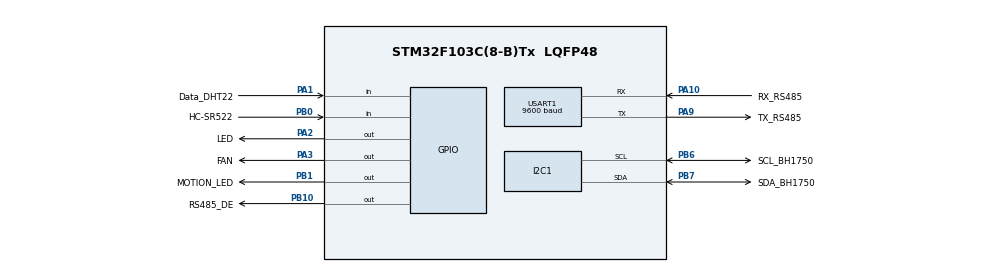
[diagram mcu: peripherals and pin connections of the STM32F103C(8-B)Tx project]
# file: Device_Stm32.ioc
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Dma.I2C1_RX.0.Direction=DMA_PERIPH_TO_MEMORY
Dma.I2C1_RX.0.Instance=DMA1_Channel7
Dma.I2C1_RX.0.MemDataAlignment=DMA_MDATAALIGN_BYTE
Dma.I2C1_RX.0.MemInc=DMA_MINC_ENABLE
Dma.I2C1_RX.0.Mode=DMA_NORMAL
Dma.I2C1_RX.0.PeriphDataAlignment=DMA_PDATAALIGN_BYTE
Dma.I2C1_RX.0.PeriphInc=DMA_PINC_DISABLE
Dma.I2C1_RX.0.Priority=DMA_PRIORITY_MEDIUM
Dma.I2C1_TX.1.Direction=DMA_MEMORY_TO_PERIPH
Dma.I2C1_TX.1.Instance=DMA1_Channel6
Dma.I2C1_TX.1.MemDataAlignment=DMA_MDATAALIGN_BYTE
Dma.I2C1_TX.1.MemInc=DMA_MINC_ENABLE
Dma.I2C1_TX.1.Mode=DMA_NORMAL
Dma.I2C1_TX.1.PeriphDataAlignment=DMA_PDATAALIGN_BYTE
Dma.I2C1_TX.1.PeriphInc=DMA_PINC_DISABLE
Dma.I2C1_TX.1.Priority=DMA_PRIORITY_MEDIUM
Dma.Request0=I2C1_RX
Dma.Request1=I2C1_TX
Dma.Request2=USART1_TX
Dma.Request3=USART1_RX
Dma.USART1_RX.3.Direction=DMA_PERIPH_TO_MEMORY
Dma.USART1_RX.3.Instance=DMA1_Channel5
Dma.USART1_RX.3.MemDataAlignment=DMA_MDATAALIGN_BYTE
Dma.USART1_RX.3.MemInc=DMA_MINC_ENABLE
Dma.USART1_RX.3.Mode=DMA_NORMAL
Dma.USART1_RX.3.PeriphDataAlignment=DMA_PDATAALIGN_BYTE
Dma.USART1_RX.3.PeriphInc=DMA_PINC_DISABLE
Dma.USART1_RX.3.Priority=DMA_PRIORITY_MEDIUM
Dma.USART1_TX.2.Direction=DMA_MEMORY_TO_PERIPH
Dma.USART1_TX.2.Instance=DMA1_Channel4
Dma.USART1_TX.2.MemDataAlignment=DMA_MDATAALIGN_BYTE
Dma.USART1_TX.2.MemInc=DMA_MINC_ENABLE
Dma.USART1_TX.2.Mode=DMA_NORMAL
Dma.USART1_TX.2.PeriphDataAlignment=DMA_PDATAALIGN_BYTE
Dma.USART1_TX.2.PeriphInc=DMA_PINC_DISABLE
Dma.USART1_TX.2.Priority=DMA_PRIORITY_MEDIUM
Mcu.Family=STM32F1
Mcu.Name=STM32F103C(8-B)Tx
Mcu.Package=LQFP48
NVIC.DMA1_Channel4_IRQn=true\:0\:0\:false\:false\:true\:false\:true\:true
NVIC.DMA1_Channel5_IRQn=true\:0\:0\:false\:false\:true\:false\:true\:true
NVIC.DMA1_Channel6_IRQn=true\:0\:0\:false\:false\:true\:false\:true\:true
NVIC.DMA1_Channel7_IRQn=true\:0\:0\:false\:false\:true\:false\:true\:true
NVIC.PriorityGroup=NVIC_PRIORITYGROUP_4
NVIC.USART1_IRQn=true\:0\:0\:false\:false\:true\:false\:true\:true
PA1.GPIO_Label=Data_DHT22
PA1.Signal=GPIO_Input
PA10.GPIO_Label=RX_RS485
PA10.Mode=Asynchronous
PA10.Signal=USART1_RX
PA13.Mode=Serial_Wire
PA13.Signal=SYS_JTMS-SWDIO
PA14.Mode=Serial_Wire
PA14.Signal=SYS_JTCK-SWCLK
PA2.GPIO_Label=LED
PA2.Signal=GPIO_Output
PA3.GPIO_Label=FAN
PA3.Signal=GPIO_Output
PA9.GPIO_Label=TX_RS485
PA9.Mode=Asynchronous
PA9.Signal=USART1_TX
PB0.GPIO_Label=HC-SR522
PB0.GPIO_PuPd=GPIO_PULLDOWN
PB0.Signal=GPIO_Input
PB1.GPIO_Label=MOTION_LED
PB1.Signal=GPIO_Output
PB10.GPIO_Label=RS485_DE
PB10.Signal=GPIO_Output
PB6.GPIO_Label=SCL_BH1750
PB6.Mode=I2C
PB6.Signal=I2C1_SCL
PB7.GPIO_Label=SDA_BH1750
PB7.Mode=I2C
PB7.Signal=I2C1_SDA
ProjectManager.HeapSize=0x200
ProjectManager.StackSize=0x400
ProjectManager.TargetToolchain=MDK-ARM V5.32
RCC.APB1Freq_Value=8000000
RCC.APB2Freq_Value=8000000
USART1.BaudRate=9600
USART1.Parity=PARITY_EVEN
USART1.StopBits=STOPBITS_1
USART1.VirtualMode=VM_ASYNC
USART1.WordLength=WORDLENGTH_9B
board=custom

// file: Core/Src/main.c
/* USER CODE BEGIN Header */
/**
  ******************************************************************************
  * @file           : main.c
  * @brief          : Main program body
  ******************************************************************************
  * @attention
  *
  * Copyright (c) 2026 STMicroelectronics.
  * All rights reserved.
  *
  * This software is licensed under terms that can be found in the LICENSE file
  * in the root directory of this software component.
  * If no LICENSE file comes with this software, it is provided AS-IS.
  *
  ******************************************************************************
  */
/* USER CODE END Header */
#include "main.h"

/* USER CODE BEGIN Includes */
#include "bh1750.h"
#include "DHT22.h"
#include <stdint.h>

/* USER CODE END Includes */

/* USER CODE BEGIN PD */
#define MODBUS_SLAVE_ID             1U
#define MODBUS_MAX_FRAME_SIZE       256U
#define MODBUS_FRAME_GAP_MS         5U
#define MODBUS_REGISTER_COUNT       7U
#define SENSOR_INTERVAL_MS          3000U
#define MOTION_POLL_INTERVAL_MS     100U
#define MOTION_STARTUP_DELAY_MS     3000U
#define MOTION_DEBOUNCE_MS          300U
#define MOTION_SENSOR_HOLD_MS       5000U
#define MOTION_OFF_DELAY_MS         39000U

/* USER CODE END PD */

I2C_HandleTypeDef hi2c1;
DMA_HandleTypeDef hdma_i2c1_rx;
DMA_HandleTypeDef hdma_i2c1_tx;

UART_HandleTypeDef huart1;
DMA_HandleTypeDef hdma_usart1_tx;
DMA_HandleTypeDef hdma_usart1_rx;

/* USER CODE BEGIN PV */
typedef struct
{
  int16_t temperature_tenths;
  uint16_t humidity_tenths;
  float lux;
  uint8_t motion_detected;
  uint8_t led_on;
  uint8_t fan_on;
  uint8_t sensor_status;
} DeviceState_t;

static BH1750_HandleTypeDef bh1750;
static DeviceState_t device_state;
static uint8_t bh1750_initialized;
static uint8_t modbus_tx_error;
static uint8_t uart_rx_error;
static uint8_t uart_rx_restart_required;
static uint8_t uart_rx_dma_buffer[MODBUS_MAX_FRAME_SIZE];
static uint8_t modbus_request_buffer[MODBUS_MAX_FRAME_SIZE];
static volatile uint16_t modbus_request_length;
static volatile uint8_t modbus_request_pending;
static volatile uint32_t modbus_last_rx_tick;
static uint32_t last_sensor_read_tick;
static uint32_t last_motion_poll_tick;
static uint32_t motion_startup_tick;
static uint32_t motion_last_active_tick;
static uint32_t motion_raw_start_tick;
static uint8_t motion_raw_tracking;

/* USER CODE END PV */

void SystemClock_Config(void);
static void MX_GPIO_Init(void);
static void MX_DMA_Init(void);
static void MX_I2C1_Init(void);
static void MX_USART1_UART_Init(void);
/* USER CODE BEGIN PFP */
static HAL_StatusTypeDef Modbus_StartReceive(void);
static void Modbus_ProcessFrame(const uint8_t *frame, uint16_t length);
static void Modbus_SendResponse(uint8_t *response, uint16_t length);
static uint16_t Modbus_CalculateCrc(const uint8_t *data, uint16_t length);
static uint16_t Modbus_GetHoldingRegister(uint16_t address);
static void Device_ReadSensors(void);
static void Device_UpdateMotion(uint32_t now);
static void Device_SetLed(uint8_t on);
static void Device_SetFan(uint8_t on);

/* USER CODE END PFP */

int main(void)
{

  /* MCU Configuration--------------------------------------------------------*/

  /* Reset of all peripherals, Initializes the Flash interface and the Systick. */
  HAL_Init();

  /* Configure the system clock */
  SystemClock_Config();

  /* Initialize all configured peripherals */
  MX_GPIO_Init();
  MX_DMA_Init();
  MX_I2C1_Init();
  MX_USART1_UART_Init();
  /* USER CODE BEGIN 2 */
  DHT22_Init(Data_DHT22_GPIO_Port, Data_DHT22_Pin);
  bh1750_initialized = (BH1750_Init(&bh1750,
                                   &hi2c1,
                                   BH1750_DEFAULT_ADDR,
                                   BH1750_MODE_CONT_HIGH_RES) == HAL_OK);

  HAL_GPIO_WritePin(RS485_DE_GPIO_Port, RS485_DE_Pin, GPIO_PIN_RESET);
  HAL_GPIO_WritePin(MOTION_LED_GPIO_Port, MOTION_LED_Pin, GPIO_PIN_RESET);
  Device_SetLed(0U);
  Device_SetFan(0U);

  if (Modbus_StartReceive() != HAL_OK)
  {
    Error_Handler();
  }

  last_sensor_read_tick = HAL_GetTick();
  motion_startup_tick = HAL_GetTick();

  /* USER CODE END 2 */

  /* Infinite loop */
  while (1)
  {

    /* USER CODE BEGIN 3 */
    uint32_t now = HAL_GetTick();

    if ((modbus_request_pending == 0U) && (modbus_request_length > 0U))
    {
      uint32_t primask = __get_PRIMASK();
      __disable_irq();
      now = HAL_GetTick();
      if ((modbus_request_pending == 0U) &&
          (modbus_request_length > 0U) &&
          ((uint32_t)(now - modbus_last_rx_tick) >= MODBUS_FRAME_GAP_MS))
      {
        __DMB();
        modbus_request_pending = 1U;
      }
      if (primask == 0U)
      {
        __enable_irq();
      }
    }

    if (modbus_request_pending != 0U)
    {
      __DMB();
      uint16_t request_length = modbus_request_length;
      Modbus_ProcessFrame((const uint8_t *)modbus_request_buffer, request_length);
      modbus_request_length = 0U;
      __DMB();
      modbus_request_pending = 0U;
    }

    if (uart_rx_restart_required != 0U)
    {
      uart_rx_restart_required = 0U;
      (void)HAL_UART_AbortReceive(&huart1);
      if (Modbus_StartReceive() != HAL_OK)
      {
        uart_rx_restart_required = 1U;
      }
    }

    if ((uint32_t)(now - last_sensor_read_tick) >= SENSOR_INTERVAL_MS)
    {
      last_sensor_read_tick = now;
      Device_ReadSensors();
    }

    if ((uint32_t)(now - last_motion_poll_tick) >= MOTION_POLL_INTERVAL_MS)
    {
      last_motion_poll_tick = now;
      Device_UpdateMotion(now);
    }

    HAL_Delay(1U);
  }
  /* USER CODE END 3 */
}

void SystemClock_Config(void)
{
  RCC_OscInitTypeDef RCC_OscInitStruct = {0};
  RCC_ClkInitTypeDef RCC_ClkInitStruct = {0};

  /** Initializes the RCC Oscillators according to the specified parameters
  * in the RCC_OscInitTypeDef structure.
  */
  RCC_OscInitStruct.OscillatorType = RCC_OSCILLATORTYPE_HSI;
  RCC_OscInitStruct.HSIState = RCC_HSI_ON;
  RCC_OscInitStruct.HSICalibrationValue = RCC_HSICALIBRATION_DEFAULT;
  RCC_OscInitStruct.PLL.PLLState = RCC_PLL_NONE;
  if (HAL_RCC_OscConfig(&RCC_OscInitStruct) != HAL_OK)
  {
    Error_Handler();
  }

  /** Initializes the CPU, AHB and APB buses clocks
  */
  RCC_ClkInitStruct.ClockType = RCC_CLOCKTYPE_HCLK|RCC_CLOCKTYPE_SYSCLK
                              |RCC_CLOCKTYPE_PCLK1|RCC_CLOCKTYPE_PCLK2;
  RCC_ClkInitStruct.SYSCLKSource = RCC_SYSCLKSOURCE_HSI;
  RCC_ClkInitStruct.AHBCLKDivider = RCC_SYSCLK_DIV1;
  RCC_ClkInitStruct.APB1CLKDivider = RCC_HCLK_DIV1;
  RCC_ClkInitStruct.APB2CLKDivider = RCC_HCLK_DIV1;

  if (HAL_RCC_ClockConfig(&RCC_ClkInitStruct, FLASH_LATENCY_0) != HAL_OK)
  {
    Error_Handler();
  }
}

static void MX_I2C1_Init(void)
{

  hi2c1.Instance = I2C1;
  hi2c1.Init.ClockSpeed = 100000;
  hi2c1.Init.DutyCycle = I2C_DUTYCYCLE_2;
  hi2c1.Init.OwnAddress1 = 0;
  hi2c1.Init.AddressingMode = I2C_ADDRESSINGMODE_7BIT;
  hi2c1.Init.DualAddressMode = I2C_DUALADDRESS_DISABLE;
  hi2c1.Init.OwnAddress2 = 0;
  hi2c1.Init.GeneralCallMode = I2C_GENERALCALL_DISABLE;
  hi2c1.Init.NoStretchMode = I2C_NOSTRETCH_DISABLE;
  if (HAL_I2C_Init(&hi2c1) != HAL_OK)
  {
    Error_Handler();
  }

}

static void MX_USART1_UART_Init(void)
{

  huart1.Instance = USART1;
  huart1.Init.BaudRate = 9600;
  huart1.Init.WordLength = UART_WORDLENGTH_9B;
  huart1.Init.StopBits = UART_STOPBITS_1;
  huart1.Init.Parity = UART_PARITY_EVEN;
  huart1.Init.Mode = UART_MODE_TX_RX;
  huart1.Init.HwFlowCtl = UART_HWCONTROL_NONE;
  huart1.Init.OverSampling = UART_OVERSAMPLING_16;
  if (HAL_UART_Init(&huart1) != HAL_OK)
  {
    Error_Handler();
  }

}

static void MX_DMA_Init(void)
{

  /* DMA controller clock enable */
  __HAL_RCC_DMA1_CLK_ENABLE();

  /* DMA interrupt init */
  /* DMA1_Channel4_IRQn interrupt configuration */
  HAL_NVIC_SetPriority(DMA1_Channel4_IRQn, 0, 0);
  HAL_NVIC_EnableIRQ(DMA1_Channel4_IRQn);
  /* DMA1_Channel5_IRQn interrupt configuration */
  HAL_NVIC_SetPriority(DMA1_Channel5_IRQn, 0, 0);
  HAL_NVIC_EnableIRQ(DMA1_Channel5_IRQn);
  /* DMA1_Channel6_IRQn interrupt configuration */
  HAL_NVIC_SetPriority(DMA1_Channel6_IRQn, 0, 0);
  HAL_NVIC_EnableIRQ(DMA1_Channel6_IRQn);
  /* DMA1_Channel7_IRQn interrupt configuration */
  HAL_NVIC_SetPriority(DMA1_Channel7_IRQn, 0, 0);
  HAL_NVIC_EnableIRQ(DMA1_Channel7_IRQn);

}

static void MX_GPIO_Init(void)
{
  GPIO_InitTypeDef GPIO_InitStruct = {0};

  /* GPIO Ports Clock Enable */
  __HAL_RCC_GPIOA_CLK_ENABLE();
  __HAL_RCC_GPIOB_CLK_ENABLE();

  /*Configure GPIO pin Output Level */
  HAL_GPIO_WritePin(GPIOA, LED_Pin|FAN_Pin, GPIO_PIN_RESET);

  /*Configure GPIO pin Output Level */
  HAL_GPIO_WritePin(GPIOB, MOTION_LED_Pin|RS485_DE_Pin, GPIO_PIN_RESET);

  /*Configure GPIO pin : Data_DHT22_Pin */
  GPIO_InitStruct.Pin = Data_DHT22_Pin;
  GPIO_InitStruct.Mode = GPIO_MODE_INPUT;
  GPIO_InitStruct.Pull = GPIO_NOPULL;
  HAL_GPIO_Init(Data_DHT22_GPIO_Port, &GPIO_InitStruct);

  /*Configure GPIO pins : LED_Pin FAN_Pin */
  GPIO_InitStruct.Pin = LED_Pin|FAN_Pin;
  GPIO_InitStruct.Mode = GPIO_MODE_OUTPUT_PP;
  GPIO_InitStruct.Pull = GPIO_NOPULL;
  GPIO_InitStruct.Speed = GPIO_SPEED_FREQ_LOW;
  HAL_GPIO_Init(GPIOA, &GPIO_InitStruct);

  /*Configure GPIO pin : HC_SR522_Pin */
  GPIO_InitStruct.Pin = HC_SR522_Pin;
  GPIO_InitStruct.Mode = GPIO_MODE_INPUT;
  GPIO_InitStruct.Pull = GPIO_PULLDOWN;
  HAL_GPIO_Init(HC_SR522_GPIO_Port, &GPIO_InitStruct);

  /*Configure GPIO pins : MOTION_LED_Pin RS485_DE_Pin */
  GPIO_InitStruct.Pin = MOTION_LED_Pin|RS485_DE_Pin;
  GPIO_InitStruct.Mode = GPIO_MODE_OUTPUT_PP;
  GPIO_InitStruct.Pull = GPIO_NOPULL;
  GPIO_InitStruct.Speed = GPIO_SPEED_FREQ_LOW;
  HAL_GPIO_Init(GPIOB, &GPIO_InitStruct);

}

/* USER CODE BEGIN 4 */
static HAL_StatusTypeDef Modbus_StartReceive(void)
{
  HAL_StatusTypeDef status =
      HAL_UARTEx_ReceiveToIdle_DMA(&huart1, uart_rx_dma_buffer, sizeof(uart_rx_dma_buffer));
  if (status == HAL_OK)
  {
    __HAL_DMA_DISABLE_IT(huart1.hdmarx, DMA_IT_HT);
  }
  else
  {
    uart_rx_error = 1U;
  }
  return status;
}

static uint16_t Modbus_CalculateCrc(const uint8_t *data, uint16_t length)
{
  uint16_t crc = 0xFFFFU;
  uint16_t i;
  uint8_t bit;

  for (i = 0U; i < length; i++)
  {
    crc ^= data[i];
    for (bit = 0U; bit < 8U; bit++)
    {
      crc = (crc & 1U) != 0U ? (uint16_t)((crc >> 1U) ^ 0xA001U)
                             : (uint16_t)(crc >> 1U);
    }
  }
  return crc;
}

static uint16_t Modbus_GetHoldingRegister(uint16_t address)
{
  switch (address)
  {
    case 0U:
      return (uint16_t)device_state.temperature_tenths;
    case 1U:
      return device_state.humidity_tenths;
    case 2U:
      if (device_state.lux >= 65535.0f)
      {
        return 65535U;
      }
      return device_state.lux > 0.0f ? (uint16_t)(device_state.lux + 0.5f) : 0U;
    case 3U:
      return device_state.motion_detected != 0U ? 1U : 0U;
    case 4U:
      return device_state.led_on != 0U ? 1U : 0U;
    case 5U:
      return device_state.fan_on != 0U ? 1U : 0U;
    case 6U:
      return (uint16_t)(device_state.sensor_status |
                        (modbus_tx_error << 2U) |
                        (uart_rx_error << 3U));
    default:
      return 0U;
  }
}

static void Device_SetLed(uint8_t on)
{
  device_state.led_on = on != 0U ? 1U : 0U;
  HAL_GPIO_WritePin(LED_GPIO_Port, LED_Pin,
                    device_state.led_on != 0U ? GPIO_PIN_SET : GPIO_PIN_RESET);
}

static void Device_SetFan(uint8_t on)
{
  device_state.fan_on = on != 0U ? 1U : 0U;
  HAL_GPIO_WritePin(FAN_GPIO_Port, FAN_Pin,
                    device_state.fan_on != 0U ? GPIO_PIN_SET : GPIO_PIN_RESET);
}

static void Device_ReadSensors(void)
{
  uint8_t status = 0U;
  uint16_t temperature_raw = 0U;
  uint16_t humidity_raw = 0U;

  if (DHT22_Get_Data(&temperature_raw, &humidity_raw) == DHT22_STATUS_OK)
  {
    int16_t temperature = (int16_t)(temperature_raw & 0x7FFFU);
    if ((temperature_raw & 0x8000U) != 0U)
    {
      temperature = (int16_t)-temperature;
    }
    device_state.temperature_tenths = temperature;
    device_state.humidity_tenths = humidity_raw;
    status |= 0x0001U;
  }

  if (bh1750_initialized == 0U)
  {
    bh1750_initialized = (BH1750_Init(&bh1750,
                                     &hi2c1,
                                     BH1750_DEFAULT_ADDR,
                                     BH1750_MODE_CONT_HIGH_RES) == HAL_OK);
  }

  if ((bh1750_initialized != 0U) &&
      (BH1750_IsMeasurementReady(&bh1750) != 0U))
  {
    uint8_t data[2];
    if (HAL_I2C_Master_Receive(&hi2c1,
                               BH1750_DEFAULT_ADDR,
                               data,
                               sizeof(data),
                               BH1750_I2C_TIMEOUT_MS) == HAL_OK)
    {
      uint16_t raw_lux = (uint16_t)(((uint16_t)data[0] << 8U) | data[1]);
      device_state.lux = (float)raw_lux / BH1750_CONV_FACTOR;
      status |= 0x0002U;
    }
  }

  device_state.sensor_status = status;
}

static void Device_UpdateMotion(uint32_t now)
{
  if ((uint32_t)(now - motion_startup_tick) < MOTION_STARTUP_DELAY_MS)
  {
    return;
  }

  if (HAL_GPIO_ReadPin(HC_SR522_GPIO_Port, HC_SR522_Pin) == GPIO_PIN_SET)
  {
    if (motion_raw_tracking == 0U)
    {
      motion_raw_tracking = 1U;
      motion_raw_start_tick = now;
    }
    motion_last_active_tick = now;
    if ((uint32_t)(now - motion_raw_start_tick) >= MOTION_DEBOUNCE_MS)
    {
      device_state.motion_detected = 1U;
    }
  }
  else
  {
    motion_raw_tracking = 0U;
    if ((device_state.motion_detected != 0U) &&
        ((uint32_t)(now - motion_last_active_tick) >=
         (MOTION_SENSOR_HOLD_MS + MOTION_OFF_DELAY_MS)))
    {
      device_state.motion_detected = 0U;
    }
  }

  HAL_GPIO_WritePin(MOTION_LED_GPIO_Port, MOTION_LED_Pin,
                    device_state.motion_detected != 0U ? GPIO_PIN_SET : GPIO_PIN_RESET);
}

static void Modbus_SendResponse(uint8_t *response, uint16_t length)
{
  uint16_t crc = Modbus_CalculateCrc(response, length);
  response[length++] = (uint8_t)(crc & 0x00FFU);
  response[length++] = (uint8_t)(crc >> 8U);

  HAL_GPIO_WritePin(RS485_DE_GPIO_Port, RS485_DE_Pin, GPIO_PIN_SET);
  if (HAL_UART_Transmit(&huart1, response, length, 100U) != HAL_OK)
  {
    modbus_tx_error = 1U;
  }
  HAL_GPIO_WritePin(RS485_DE_GPIO_Port, RS485_DE_Pin, GPIO_PIN_RESET);
}

static void Modbus_ProcessFrame(const uint8_t *frame, uint16_t length)
{
  uint8_t response[MODBUS_MAX_FRAME_SIZE];
  uint16_t crc;
  uint8_t function;
  uint16_t response_length = 0U;

  if ((length < 4U) || (length > MODBUS_MAX_FRAME_SIZE))
  {
    return;
  }

  crc = (uint16_t)frame[length - 2U] |
        (uint16_t)((uint16_t)frame[length - 1U] << 8U);
  if (Modbus_CalculateCrc(frame, (uint16_t)(length - 2U)) != crc)
  {
    return;
  }
  if (frame[0] != MODBUS_SLAVE_ID)
  {
    return;
  }

  function = frame[1];
  response[0] = MODBUS_SLAVE_ID;
  response[1] = function;

  if (function == 0x03U)
  {
    uint16_t start;
    uint16_t count;
    uint16_t i;

    if (length != 8U)
    {
      response[1] = (uint8_t)(function | 0x80U);
      response[2] = 0x03U;
      response_length = 3U;
    }
    else
    {
      start = (uint16_t)(((uint16_t)frame[2] << 8U) | frame[3]);
      count = (uint16_t)(((uint16_t)frame[4] << 8U) | frame[5]);
      if ((count == 0U) || (count > 125U))
      {
        response[1] = (uint8_t)(function | 0x80U);
        response[2] = 0x03U;
        response_length = 3U;
      }
      else if ((start >= MODBUS_REGISTER_COUNT) ||
               (count > (MODBUS_REGISTER_COUNT - start)))
      {
        response[1] = (uint8_t)(function | 0x80U);
        response[2] = 0x02U;
        response_length = 3U;
      }
      else
      {
        response[2] = (uint8_t)(count * 2U);
        for (i = 0U; i < count; i++)
        {
          uint16_t value = Modbus_GetHoldingRegister((uint16_t)(start + i));
          response[3U + (i * 2U)] = (uint8_t)(value >> 8U);
          response[4U + (i * 2U)] = (uint8_t)(value & 0x00FFU);
        }
        response_length = (uint16_t)(3U + (count * 2U));
      }
    }
  }
  else if (function == 0x06U)
  {
    uint16_t address;
    uint16_t value;

    if (length != 8U)
    {
      response[1] = (uint8_t)(function | 0x80U);
      response[2] = 0x03U;
      response_length = 3U;
    }
    else
    {
      address = (uint16_t)(((uint16_t)frame[2] << 8U) | frame[3]);
      value = (uint16_t)(((uint16_t)frame[4] << 8U) | frame[5]);
      if ((address != 4U) && (address != 5U))
      {
        response[1] = (uint8_t)(function | 0x80U);
        response[2] = 0x02U;
        response_length = 3U;
      }
      else if (value > 1U)
      {
        response[1] = (uint8_t)(function | 0x80U);
        response[2] = 0x03U;
        response_length = 3U;
      }
      else
      {
        if (address == 4U)
        {
          Device_SetLed((uint8_t)value);
        }
        else
        {
          Device_SetFan((uint8_t)value);
        }
        for (response_length = 0U; response_length < 6U; response_length++)
        {
          response[response_length] = frame[response_length];
        }
      }
    }
  }
  else
  {
    response[1] = (uint8_t)(function | 0x80U);
    response[2] = 0x01U;
    response_length = 3U;
  }

  if (response_length != 0U)
  {
    Modbus_SendResponse(response, response_length);
  }
}

void HAL_UARTEx_RxEventCallback(UART_HandleTypeDef *huart, uint16_t size)
{
  uint16_t i;

  if (huart->Instance != USART1)
  {
    return;
  }

  if ((size > 0U) && (modbus_request_pending == 0U) &&
      (size <= (MODBUS_MAX_FRAME_SIZE - modbus_request_length)))
  {
    for (i = 0U; i < size; i++)
    {
      modbus_request_buffer[modbus_request_length + i] = uart_rx_dma_buffer[i];
    }
    modbus_request_length = (uint16_t)(modbus_request_length + size);
    modbus_last_rx_tick = HAL_GetTick();
  }
  else if (size > 0U)
  {
    uart_rx_error = 1U;
    if (modbus_request_pending == 0U)
    {
      modbus_request_length = 0U;
    }
  }

  if (Modbus_StartReceive() != HAL_OK)
  {
    uart_rx_restart_required = 1U;
  }
}

void HAL_UART_ErrorCallback(UART_HandleTypeDef *huart)
{
  if (huart->Instance == USART1)
  {
    uart_rx_error = 1U;
    uart_rx_restart_required = 1U;
  }
}

/* USER CODE END 4 */

void Error_Handler(void)
{
  __disable_irq();
  while (1)
  {
  }
}
